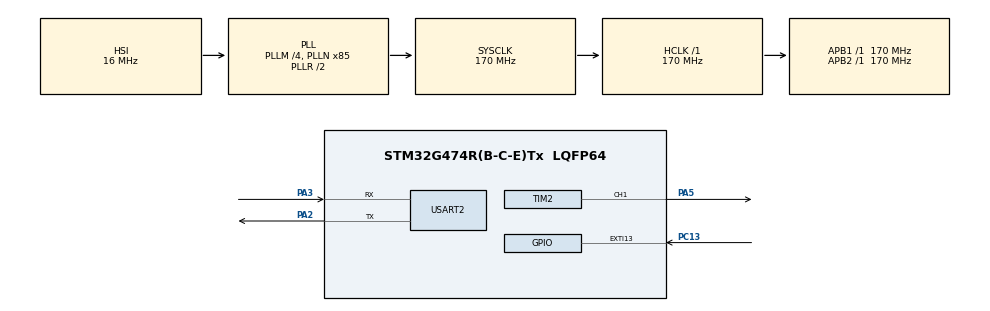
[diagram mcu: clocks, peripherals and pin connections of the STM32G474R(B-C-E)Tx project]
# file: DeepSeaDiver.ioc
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Mcu.Family=STM32G4
Mcu.Name=STM32G474R(B-C-E)Tx
Mcu.Package=LQFP64
NVIC.EXTI15_10_IRQn=true\:0\:0\:false\:false\:true\:true\:true\:true
NVIC.PriorityGroup=NVIC_PRIORITYGROUP_4
NVIC.USART2_IRQn=true\:0\:0\:false\:false\:true\:true\:true\:true
PA13.GPIO_Label=T_SWDIO
PA13.Signal=SYS_JTMS-SWDIO
PA14.GPIO_Label=T_SWCLK
PA14.Signal=SYS_JTCK-SWCLK
PA2.Mode=Asynchronous
PA2.Signal=USART2_TX
PA3.Mode=Asynchronous
PA3.Signal=USART2_RX
PA5.Signal=S_TIM2_CH1
PB3.GPIO_Label=T_SWO
PB3.Signal=SYS_JTDO-SWO
PC13.Signal=GPXTI13
PC14-OSC32_IN.GPIO_Label=RCC_OSC32_IN
PC14-OSC32_IN.Signal=RCC_OSC32_IN
PC15-OSC32_OUT.GPIO_Label=RCC_OSC32_OUT
PC15-OSC32_OUT.Signal=RCC_OSC32_OUT
PF0-OSC_IN.GPIO_Label=RCC_OSC_IN
PF0-OSC_IN.Signal=RCC_OSC_IN
PF1-OSC_OUT.GPIO_Label=RCC_OSC_OUT
PF1-OSC_OUT.Signal=RCC_OSC_OUT
ProjectManager.HeapSize=0x200
ProjectManager.StackSize=0x400
ProjectManager.TargetToolchain=STM32CubeIDE
RCC.ADC12Freq_Value=170000000
RCC.ADC345Freq_Value=170000000
RCC.AHBFreq_Value=170000000
RCC.APB1Freq_Value=170000000
RCC.APB1TimFreq_Value=170000000
RCC.APB2Freq_Value=170000000
RCC.APB2TimFreq_Value=170000000
RCC.CortexFreq_Value=170000000
RCC.EXTERNAL_CLOCK_VALUE=12288000
RCC.HCLKFreq_Value=170000000
RCC.HSE_VALUE=24000000
RCC.HSI48_VALUE=48000000
RCC.HSI_VALUE=16000000
RCC.LSE_VALUE=32768
RCC.PLLM=RCC_PLLM_DIV4
RCC.PLLN=85
RCC.RTCClockSelection=RCC_RTCCLKSOURCE_LSE
RCC.SYSCLKFreq_VALUE=170000000
RCC.SYSCLKSource=RCC_SYSCLKSOURCE_PLLCLK
RCC.USBFreq_Value=170000000
RCC.VCOOutputFreq_Value=340000000
SH.S_TIM2_CH1.0=TIM2_CH1,PWM Generation1 CH1
TIM2.Channel-PWM\ Generation1\ CH1=TIM_CHANNEL_1
USART2.VirtualMode-Asynchronous=VM_ASYNC
VP_SYS_VS_DBSignals.Mode=DisableDeadBatterySignals
VP_TIM2_VS_ClockSourceINT.Mode=Internal
board=NUCLEO-G474RE

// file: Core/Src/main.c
/* USER CODE BEGIN Header */
/**
  ******************************************************************************
  * @file           : main.c
  * @brief          : Main program body
  ******************************************************************************
  * @attention
  *
  * Copyright (c) 2026 STMicroelectronics.
  * All rights reserved.
  *
  * This software is licensed under terms that can be found in the LICENSE file
  * in the root directory of this software component.
  * If no LICENSE file comes with this software, it is provided AS-IS.
  *
  ******************************************************************************
  */
/* USER CODE END Header */
#include "main.h"

TIM_HandleTypeDef htim2;

UART_HandleTypeDef huart2;

/* USER CODE BEGIN PV */
#include <stdio.h>
#include <string.h>

// 全域共用變數（跨 ISR 必加 volatile）[cite: 6, 19, 26]
volatile uint32_t ticks = 0;         // 毫秒計時 (TIM3 或 SysTick)[cite: 35]
volatile uint8_t  btn_pressed = 0;   // B1 觸發旗標[cite: 35]
volatile uint32_t t_last_btn = 0;    // 50ms 去彈跳時間戳[cite: 35]

// 環形緩衝區 (W06)[cite: 25, 26]
#define RX_BUF_SIZE 64
volatile char rx_buf[RX_BUF_SIZE];
volatile uint8_t rx_head = 0;
volatile uint8_t rx_tail = 0;

// 潛水員狀態機變數[cite: 35, 40]
int depth = 10;            // 初始深度 10m
int o2 = 100;              // 氧氣殘量 0~100%[cite: 35, 40]
uint32_t last_sec = 0;     // 每秒計時[cite: 35]
enum { MODE_DIVING, MODE_SOS, MODE_DECOMPRESS } mode = MODE_DIVING;
int decomp_sec = 0;        // 減壓倒數秒數[cite: 40]
/* USER CODE END PV */

void SystemClock_Config(void);
static void MX_GPIO_Init(void);
static void MX_TIM2_Init(void);
static void MX_USART2_UART_Init(void);

/* USER CODE BEGIN 0 */
// UART 傳送單一字元[cite: 24, 25]
void uart_putchar(char c) {
    while (!(USART2->ISR & USART_ISR_TXE_TXFNF)); // 等待 TDR 空[cite: 24, 25]
    USART2->TDR = c;                               // 寫入傳送暫存器[cite: 24]
}

// UART 傳送字串[cite: 24, 35]
void uart_puts(const char *s) {
    while (*s) uart_putchar(*s++);
}

// 供 printf 重導向至 USART2[cite: 28]
int __io_putchar(int ch) {
    uart_putchar((char)ch);
    return ch;
}

// W05 EXTI 中斷服務常式（B1 PC13）[cite: 14, 19]
void EXTI15_10_IRQHandler(void) {
    if (EXTI->PR1 & EXTI_PR1_PIF13) {
        EXTI->PR1 = EXTI_PR1_PIF13; // 寫 1 清除 (rc_w1)[cite: 16, 19]
        // 50 ms 非阻塞軟體去彈跳[cite: 35]
        if (ticks - t_last_btn >= 50) {
            btn_pressed = 1;
            t_last_btn = ticks;
        }
    }
}

// W06 USART2 中斷服務常式[cite: 25, 26]
void USART2_IRQHandler(void) {
    if (USART2->ISR & USART_ISR_RXNE_RXFNE) {
        char c = USART2->RDR; // 讀取 RDR 自動清旗標[cite: 24, 25]
        uint8_t next_head = (rx_head + 1) & (RX_BUF_SIZE - 1); // 64-byte 快速運算[cite: 25, 26]
        if (next_head != rx_tail) {
            rx_buf[rx_head] = c;
            rx_head = next_head;
        }
    }
}
/* USER CODE END 0 */

int main(void)
{

  /* MCU Configuration--------------------------------------------------------*/

  /* Reset of all peripherals, Initializes the Flash interface and the Systick. */
  HAL_Init();

  /* Configure the system clock */
  SystemClock_Config();

  /* Initialize all configured peripherals */
  MX_GPIO_Init();
  MX_TIM2_Init();
  MX_USART2_UART_Init();
  /* USER CODE BEGIN 2 */
  TIM2->PSC = 169;       // 170MHz / (169+1) = 1 MHz 計數節拍[cite: 29, 30]
      TIM2->ARR = 999;       // 週期 1000 次 = 1 kHz 頻率[cite: 29, 30]
      TIM2->CCR1 = 1000;     // 初始佔空比 100%（全亮）[cite: 30]
      TIM2->CR1 |= TIM_CR1_ARPE;       // 啟用 ARR 預載防毛刺[cite: 31, 32]
      TIM2->CCMR1 |= TIM_CCMR1_OC1PE;  // 啟用 CCR1 預載防毛刺[cite: 31, 32]
      TIM2->CCER |= TIM_CCER_CC1E;     // 啟用通道 1 輸出[cite: 30, 32]
      TIM2->CR1 |= TIM_CR1_CEN;        // 開啟計時器計數[cite: 29, 30]

      // 啟用 USART2 接收中斷[cite: 25, 26]
      USART2->CR1 |= USART_CR1_RXNEIE_RXFNEIE;

      uart_puts("\r\n=== Deep Sea Diver System Online ===\r\n");
  /* USER CODE END 2 */
      char cmd_line[32];
      int cmd_idx = 0;
  /* Infinite loop */
  while (1)
  {
	  ticks = HAL_GetTick(); // 使用系統 1ms tick[cite: 35]

	// 1. 處理 B1 按鍵中斷事件（下潛加深）[cite: 35, 40]
	if (btn_pressed) {
	btn_pressed = 0;
	if (mode == MODE_DIVING) {
	depth += 10; // 每按一次深度 +10m[cite: 40]
	printf(">> Dive Deeper: Depth = %dm\r\n", depth);
	}
    /* USER CODE BEGIN 3 */
	while (rx_tail != rx_head) {
	        char ch = rx_buf[rx_tail];
	        rx_tail = (rx_tail + 1) & (RX_BUF_SIZE - 1);

	        if (ch == '\r' || ch == '\n') {
	            if (cmd_idx > 0) {
	                cmd_line[cmd_idx] = '\0';
	                // 指令解析[cite: 27, 40]
	                if (strcmp(cmd_line, "surface") == 0) {
	                    mode = MODE_DECOMPRESS;
	                    decomp_sec = 3; // 啟動 3 秒減壓艙[cite: 40]
	                    printf(">> Surface Requested: Starting 3s Decompression...\r\n");
	                } else if (strcmp(cmd_line, "low") == 0) {
	                    o2 = 15; // 快速測試指令[cite: 40]
	                }
	                cmd_idx = 0;
	            }
	        } else if (cmd_idx < 31) {
	            cmd_line[cmd_idx++] = ch;
	        }
	    }

	    // 3. 每秒（1000 ms）週期性狀態處理[cite: 35, 40]
	    if (ticks - last_sec >= 1000) {
	        last_sec = ticks;

	        if (mode == MODE_DIVING) {
	            // 水深決定耗氧率：10m 扣 2%，之後每多 10m 多扣 3%[cite: 40]
	            int burn_rate = 2 + ((depth - 10) / 10) * 3;
	            o2 -= burn_rate;
	            if (o2 <= 0) o2 = 0;

	            printf("[DIVE] Depth: %2dm | O2: %3d%% | Burn: %2d%%/s\r\n", depth, o2, burn_rate);

	            // 判斷是否低於 20% 進入 SOS[cite: 40]
	            if (o2 <= 20) {
	                mode = MODE_SOS;
	                printf(">> [ALERT] Oxygen Critical! SOS Triggered!\r\n");
	            }
	        }
	        else if (mode == MODE_DECOMPRESS) {
	            printf("[DECOMP] Safe Chamber: %ds remaining...\r\n", decomp_sec);
	            decomp_sec--;
	            if (decomp_sec <= 0) {
	                mode = MODE_DIVING;
	                depth = 10;
	                o2 = 100;
	                printf(">> Resurfaced Safely! O2 Refilled to 100%%.\r\n");
	            }
	        }
	    }

	    // 4. W07 PWM 多態調光控制（直接修改 CCR1 暫存器）[cite: 30, 31, 32]
	    if (mode == MODE_DIVING) {
	        TIM2->CCR1 = o2 * 10; // 0~100% 等比對應 CCR1 (0~1000)[cite: 30, 32]
	    }
	    else if (mode == MODE_SOS) {
	        // 每 200ms 快閃（非阻塞）[cite: 40]
	        TIM2->CCR1 = ((ticks / 200) % 2) ? 1000 : 0;
	    }
	    else if (mode == MODE_DECOMPRESS) {
	        // 平滑呼吸燈：利用三角波在 1000ms 內往返 0~1000[cite: 31, 32]
	        int phase = ticks % 1000;
	        TIM2->CCR1 = (phase < 500) ? (phase * 2) : (2000 - phase * 2);

  }

  /* USER CODE END 3 */
}

void SystemClock_Config(void)
{
  RCC_OscInitTypeDef RCC_OscInitStruct = {0};
  RCC_ClkInitTypeDef RCC_ClkInitStruct = {0};

  /** Configure the main internal regulator output voltage
  */
  HAL_PWREx_ControlVoltageScaling(PWR_REGULATOR_VOLTAGE_SCALE1_BOOST);

  /** Initializes the RCC Oscillators according to the specified parameters
  * in the RCC_OscInitTypeDef structure.
  */
  RCC_OscInitStruct.OscillatorType = RCC_OSCILLATORTYPE_HSI;
  RCC_OscInitStruct.HSIState = RCC_HSI_ON;
  RCC_OscInitStruct.HSICalibrationValue = RCC_HSICALIBRATION_DEFAULT;
  RCC_OscInitStruct.PLL.PLLState = RCC_PLL_ON;
  RCC_OscInitStruct.PLL.PLLSource = RCC_PLLSOURCE_HSI;
  RCC_OscInitStruct.PLL.PLLM = RCC_PLLM_DIV4;
  RCC_OscInitStruct.PLL.PLLN = 85;
  RCC_OscInitStruct.PLL.PLLP = RCC_PLLP_DIV2;
  RCC_OscInitStruct.PLL.PLLQ = RCC_PLLQ_DIV2;
  RCC_OscInitStruct.PLL.PLLR = RCC_PLLR_DIV2;
  if (HAL_RCC_OscConfig(&RCC_OscInitStruct) != HAL_OK)
  {
    Error_Handler();
  }

  /** Initializes the CPU, AHB and APB buses clocks
  */
  RCC_ClkInitStruct.ClockType = RCC_CLOCKTYPE_HCLK|RCC_CLOCKTYPE_SYSCLK
                              |RCC_CLOCKTYPE_PCLK1|RCC_CLOCKTYPE_PCLK2;
  RCC_ClkInitStruct.SYSCLKSource = RCC_SYSCLKSOURCE_PLLCLK;
  RCC_ClkInitStruct.AHBCLKDivider = RCC_SYSCLK_DIV1;
  RCC_ClkInitStruct.APB1CLKDivider = RCC_HCLK_DIV1;
  RCC_ClkInitStruct.APB2CLKDivider = RCC_HCLK_DIV1;

  if (HAL_RCC_ClockConfig(&RCC_ClkInitStruct, FLASH_LATENCY_4) != HAL_OK)
  {
    Error_Handler();
  }
}

static void MX_TIM2_Init(void)
{

  TIM_ClockConfigTypeDef sClockSourceConfig = {0};
  TIM_MasterConfigTypeDef sMasterConfig = {0};
  TIM_OC_InitTypeDef sConfigOC = {0};

  htim2.Instance = TIM2;
  htim2.Init.Prescaler = 0;
  htim2.Init.CounterMode = TIM_COUNTERMODE_UP;
  htim2.Init.Period = 4294967295;
  htim2.Init.ClockDivision = TIM_CLOCKDIVISION_DIV1;
  htim2.Init.AutoReloadPreload = TIM_AUTORELOAD_PRELOAD_DISABLE;
  if (HAL_TIM_Base_Init(&htim2) != HAL_OK)
  {
    Error_Handler();
  }
  sClockSourceConfig.ClockSource = TIM_CLOCKSOURCE_INTERNAL;
  if (HAL_TIM_ConfigClockSource(&htim2, &sClockSourceConfig) != HAL_OK)
  {
    Error_Handler();
  }
  if (HAL_TIM_PWM_Init(&htim2) != HAL_OK)
  {
    Error_Handler();
  }
  sMasterConfig.MasterOutputTrigger = TIM_TRGO_RESET;
  sMasterConfig.MasterSlaveMode = TIM_MASTERSLAVEMODE_DISABLE;
  if (HAL_TIMEx_MasterConfigSynchronization(&htim2, &sMasterConfig) != HAL_OK)
  {
    Error_Handler();
  }
  sConfigOC.OCMode = TIM_OCMODE_PWM1;
  sConfigOC.Pulse = 0;
  sConfigOC.OCPolarity = TIM_OCPOLARITY_HIGH;
  sConfigOC.OCFastMode = TIM_OCFAST_DISABLE;
  if (HAL_TIM_PWM_ConfigChannel(&htim2, &sConfigOC, TIM_CHANNEL_1) != HAL_OK)
  {
    Error_Handler();
  }
  HAL_TIM_MspPostInit(&htim2);

}

static void MX_USART2_UART_Init(void)
{

  huart2.Instance = USART2;
  huart2.Init.BaudRate = 115200;
  huart2.Init.WordLength = UART_WORDLENGTH_8B;
  huart2.Init.StopBits = UART_STOPBITS_1;
  huart2.Init.Parity = UART_PARITY_NONE;
  huart2.Init.Mode = UART_MODE_TX_RX;
  huart2.Init.HwFlowCtl = UART_HWCONTROL_NONE;
  huart2.Init.OverSampling = UART_OVERSAMPLING_16;
  huart2.Init.OneBitSampling = UART_ONE_BIT_SAMPLE_DISABLE;
  huart2.Init.ClockPrescaler = UART_PRESCALER_DIV1;
  huart2.AdvancedInit.AdvFeatureInit = UART_ADVFEATURE_NO_INIT;
  if (HAL_UART_Init(&huart2) != HAL_OK)
  {
    Error_Handler();
  }
  if (HAL_UARTEx_SetTxFifoThreshold(&huart2, UART_TXFIFO_THRESHOLD_1_8) != HAL_OK)
  {
    Error_Handler();
  }
  if (HAL_UARTEx_SetRxFifoThreshold(&huart2, UART_RXFIFO_THRESHOLD_1_8) != HAL_OK)
  {
    Error_Handler();
  }
  if (HAL_UARTEx_DisableFifoMode(&huart2) != HAL_OK)
  {
    Error_Handler();
  }

}

static void MX_GPIO_Init(void)
{
  GPIO_InitTypeDef GPIO_InitStruct = {0};

  /* GPIO Ports Clock Enable */
  __HAL_RCC_GPIOC_CLK_ENABLE();
  __HAL_RCC_GPIOF_CLK_ENABLE();
  __HAL_RCC_GPIOA_CLK_ENABLE();
  __HAL_RCC_GPIOB_CLK_ENABLE();

  /*Configure GPIO pin : PC13 */
  GPIO_InitStruct.Pin = GPIO_PIN_13;
  GPIO_InitStruct.Mode = GPIO_MODE_IT_RISING;
  GPIO_InitStruct.Pull = GPIO_NOPULL;
  HAL_GPIO_Init(GPIOC, &GPIO_InitStruct);

  /* EXTI interrupt init*/
  HAL_NVIC_SetPriority(EXTI15_10_IRQn, 0, 0);
  HAL_NVIC_EnableIRQ(EXTI15_10_IRQn);

}

void Error_Handler(void)
{
  __disable_irq();
  while (1)
  {
  }
}
